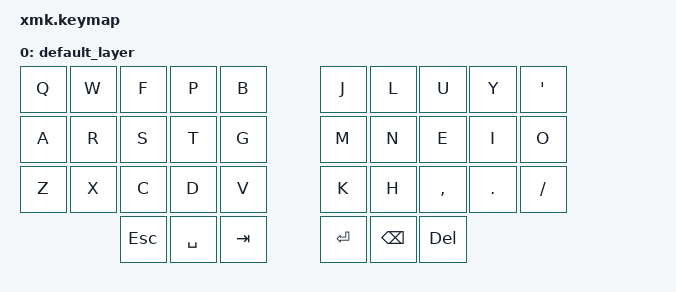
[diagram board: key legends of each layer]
// Copyright 2022 Manna Harbour
// https://github.com/manna-harbour/xmk

#include <behaviors.dtsi>
#include <dt-bindings/zmk/keys.h>

/ {
    keymap {
        compatible = "zmk,keymap";
        default_layer {
            bindings = <

&kp Q     &kp W     &kp F     &kp P     &kp B                &kp J     &kp L     &kp U     &kp Y     &kp SQT
&kp A     &kp R     &kp S     &kp T     &kp G                &kp M     &kp N     &kp E     &kp I     &kp O
&kp Z     &kp X     &kp C     &kp D     &kp V                &kp K     &kp H     &kp COMMA &kp DOT   &kp SLASH
                    &kp ESC   &kp SPC   &kp TAB              &kp RET   &kp BSPC  &kp DEL

            >;
        };
    };
};
